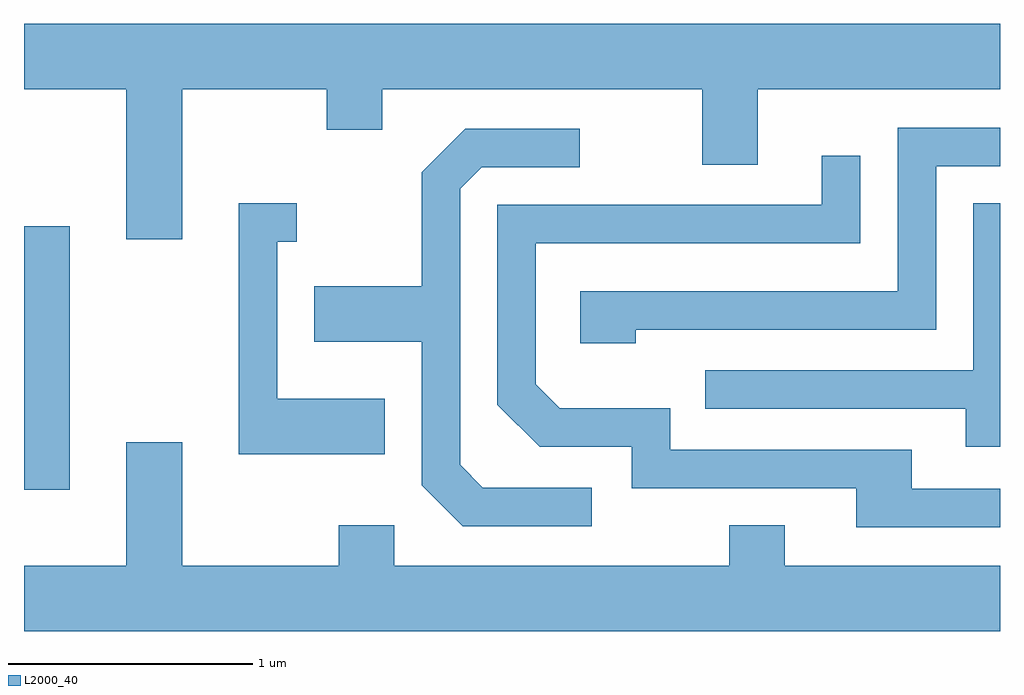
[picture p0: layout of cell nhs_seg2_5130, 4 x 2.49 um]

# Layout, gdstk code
import gdstk
lib = gdstk.Library(unit=1e-6, precision=1e-09)
def R(c, l, rs):  # rectangles x0, y0, x1, y1
    for r in rs: c.add(gdstk.rectangle(r[:2], r[2:], *l))
def P(c, l, *ps):  # polygons
    for p in ps: c.add(gdstk.Polygon(p, *l))
L2000_40 = (2000, 40)

nhs_seg2_5130 = lib.new_cell('nhs_seg2_5130')
R(nhs_seg2_5130, L2000_40, [(335.611,1091.076,335.799,1092.154)])
P(nhs_seg2_5130, L2000_40, [(336.259,1092.716),(336.851,1092.716),(336.851,1092.551),(337.079,1092.551),(337.079,1092.716),(338.391,1092.716),(338.391,1092.406),(338.619,1092.406),(338.619,1092.716),(339.611,1092.716),(339.611,1092.984),(335.611,1092.984),(335.611,1092.716),(336.031,1092.716),(336.031,1092.101),(336.259,1092.101)],
  [(338.119,1091.731),(339.349,1091.731),(339.349,1092.401),(339.611,1092.401),(339.611,1092.559),(339.191,1092.559),(339.191,1091.889),(337.891,1091.889),(337.891,1091.676),(338.119,1091.676)],
  [(337.938,1091.084),(337.492,1091.084),(337.399,1091.177),(337.399,1092.309),(337.487,1092.396),(337.888,1092.396),(337.888,1092.554),(337.419,1092.554),(337.241,1092.377),(337.241,1091.909),(336.801,1091.909),(336.801,1091.681),(337.241,1091.681),(337.241,1091.094),(337.409,1090.926),(337.938,1090.926)],
  [(339.611,1091.079),(339.249,1091.079),(339.249,1091.239),(338.259,1091.239),(338.259,1091.409),(337.807,1091.409),(337.709,1091.507),(337.709,1092.086),(339.039,1092.086),(339.039,1092.443),(338.881,1092.443),(338.881,1092.244),(337.551,1092.244),(337.551,1091.424),(337.724,1091.251),(338.101,1091.251),(338.101,1091.081),(339.021,1091.081),(339.021,1090.921),(339.611,1090.921)],
  [(337.089,1091.449),(336.649,1091.449),(336.649,1092.091),(336.728,1092.091),(336.728,1092.249),(336.491,1092.249),(336.491,1091.221),(337.089,1091.221)],
  [(339.611,1092.249),(339.501,1092.249),(339.501,1091.564),(338.403,1091.564),(338.403,1091.406),(339.471,1091.406),(339.471,1091.251),(339.611,1091.251)],
  [(339.611,1090.764),(338.729,1090.764),(338.729,1090.929),(338.501,1090.929),(338.501,1090.764),(337.129,1090.764),(337.129,1090.929),(336.901,1090.929),(336.901,1090.764),(336.259,1090.764),(336.259,1091.269),(336.031,1091.269),(336.031,1090.764),(335.611,1090.764),(335.611,1090.496),(339.611,1090.496)])

lib.write_gds('nhs_seg2_5130.gds')
